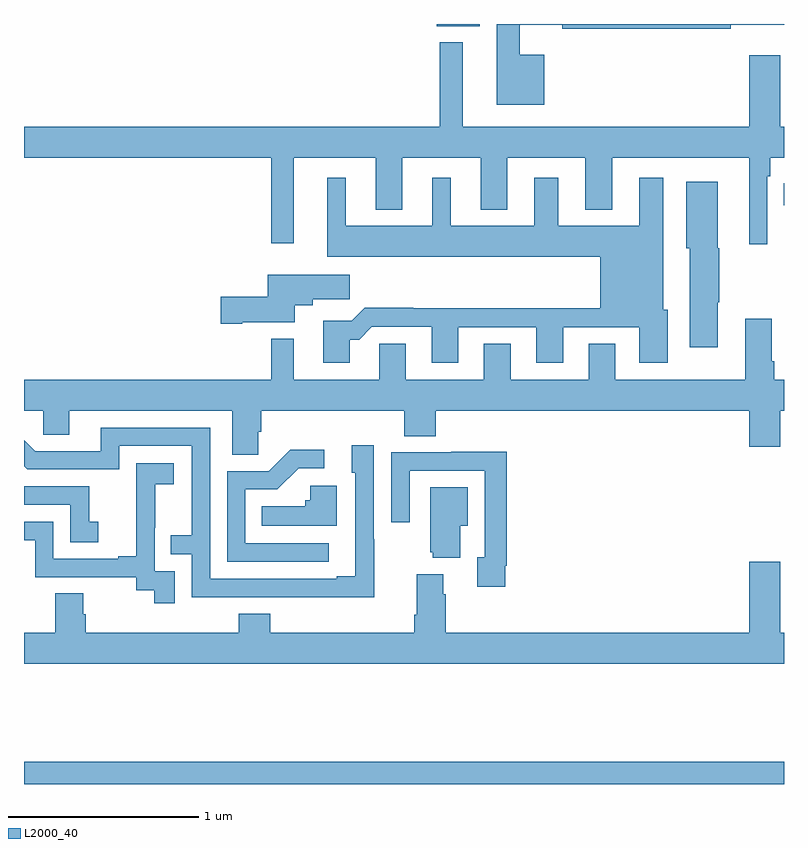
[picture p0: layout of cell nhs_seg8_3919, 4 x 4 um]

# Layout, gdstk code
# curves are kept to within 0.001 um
import gdstk
lib = gdstk.Library(unit=1e-6, precision=1e-09)
def R(c, l, rs):  # rectangles x0, y0, x1, y1
    for r in rs: c.add(gdstk.rectangle(r[:2], r[2:], *l))
def P(c, l, *ps):  # polygons
    for p in ps: c.add(gdstk.Polygon(p, *l))
L2000_40 = (2000, 40)

nhs_seg8_3919 = lib.new_cell('nhs_seg8_3919')
R(nhs_seg8_3919, L2000_40, [(353,1083.9,357,1084.016), (356.998,1086.946,357,1087.062), (355.172,1087.889,355.399,1087.9)])
P(nhs_seg8_3919, L2000_40, [(355.738,1087.738),(355.609,1087.738),(355.609,1087.895),(355.834,1087.895),(355.834,1087.876),(356.72,1087.876),(356.72,1087.895),(357,1087.895),(357,1087.9),(355.487,1087.9),(355.487,1087.475),(355.738,1087.475)],
  [(356.913,1087.1),(356.927,1087.1),(356.927,1087.196),(357,1087.196),(357,1087.36),(356.98,1087.36),(356.98,1087.735),(356.816,1087.735),(356.816,1087.36),(355.309,1087.36),(355.309,1087.804),(355.188,1087.804),(355.188,1087.36),(353,1087.36),(353,1087.196),(354.3,1087.196),(354.3,1086.747),(354.421,1086.747),(354.421,1087.196),(354.851,1087.196),(354.851,1086.923),(354.991,1086.923),(354.991,1087.196),(355.403,1087.196),(355.403,1086.923),(355.543,1086.923),(355.543,1087.196),(355.955,1087.196),(355.955,1086.923),(356.095,1086.923),(356.095,1087.196),(356.816,1087.196),(356.816,1086.741),(356.913,1086.741)],
  [(354.715,1086.239),(354.764,1086.239),(354.831,1086.306),(355.145,1086.306),(355.145,1086.117),(355.285,1086.117),(355.285,1086.303),(355.697,1086.303),(355.697,1086.117),(355.837,1086.117),(355.837,1086.303),(356.237,1086.303),(356.237,1086.117),(356.389,1086.117),(356.389,1086.396),(356.365,1086.396),(356.365,1087.09),(356.237,1087.09),(356.237,1086.838),(355.813,1086.838),(355.813,1087.09),(355.685,1087.09),(355.685,1086.838),(355.246,1086.838),(355.246,1087.09),(355.148,1087.09),(355.148,1086.838),(354.694,1086.838),(354.694,1087.09),(354.596,1087.09),(354.596,1086.674),(356.033,1086.674),(356.033,1086.404),(355.049,1086.404),(355.049,1086.407),(354.794,1086.407),(354.724,1086.337),(354.575,1086.337),(354.575,1086.117),(354.715,1086.117)],
  [(356.65,1086.436),(356.658,1086.436),(356.658,1086.72),(356.65,1086.72),(356.65,1087.069),(356.486,1087.069),(356.486,1086.72),(356.504,1086.72),(356.504,1086.198),(356.65,1086.198)],
  [(354.148,1086.329),(354.424,1086.329),(354.424,1086.419),(354.52,1086.419),(354.52,1086.451),(354.715,1086.451),(354.715,1086.58),(354.284,1086.58),(354.284,1086.464),(354.036,1086.464),(354.036,1086.322),(354.148,1086.322)],
  [(354.234,1085.755),(354.248,1085.755),(354.248,1085.864),(355.001,1085.864),(355.001,1085.731),(355.166,1085.731),(355.166,1085.864),(356.816,1085.864),(356.816,1085.676),(356.98,1085.676),(356.98,1085.864),(357,1085.864),(357,1086.028),(356.948,1086.028),(356.948,1086.124),(356.935,1086.124),(356.935,1086.349),(356.795,1086.349),(356.795,1086.028),(356.113,1086.028),(356.113,1086.218),(355.973,1086.218),(355.973,1086.028),(355.561,1086.028),(355.561,1086.218),(355.421,1086.218),(355.421,1086.028),(355.009,1086.028),(355.009,1086.218),(354.87,1086.218),(354.87,1086.028),(354.421,1086.028),(354.421,1086.244),(354.3,1086.244),(354.3,1086.028),(353,1086.028),(353,1085.864),(353.1,1085.864),(353.1,1085.737),(353.239,1085.737),(353.239,1085.864),(354.095,1085.864),(354.095,1085.632),(354.234,1085.632)],
  [(354.843,1085.189),(354.84,1085.189),(354.84,1085.683),(354.725,1085.683),(354.725,1085.538),(354.744,1085.538),(354.744,1084.993),(354.647,1084.993),(354.647,1084.98),(353.979,1084.98),(353.979,1085.775),(353.405,1085.775),(353.405,1085.652),(353.058,1085.652),(353,1085.71),(353,1085.572),(353.016,1085.556),(353.502,1085.556),(353.502,1085.679),(353.883,1085.679),(353.883,1085.21),(353.773,1085.21),(353.773,1085.109),(353.883,1085.109),(353.883,1084.884),(354.843,1084.883)],
  [(354.604,1085.166),(354.165,1085.166),(354.165,1085.451),(354.334,1085.451),(354.445,1085.562),(354.58,1085.562),(354.58,1085.66),(354.401,1085.66),(354.288,1085.547),(354.069,1085.547),(354.069,1085.07),(354.604,1085.07)],
  [(355.534,1085.05),(355.541,1085.05),(355.541,1085.648),(355.249,1085.648),(355.249,1085.646),(354.933,1085.646),(354.933,1085.277),(355.029,1085.277),(355.029,1085.55),(355.425,1085.55),(355.425,1085.094),(355.385,1085.094),(355.385,1084.938),(355.534,1084.938)],
  [(353.793,1085.019),(353.688,1085.019),(353.688,1085.249),(353.69,1085.249),(353.69,1085.477),(353.788,1085.477),(353.788,1085.587),(353.59,1085.587),(353.59,1085.381),(353.591,1085.381),(353.591,1085.098),(353.495,1085.098),(353.495,1085.085),(353.154,1085.085),(353.154,1085.28),(353,1085.28),(353,1085.184),(353.058,1085.184),(353.058,1084.989),(353.592,1084.989),(353.592,1084.921),(353.685,1084.921),(353.685,1084.851),(353.793,1084.851)],
  [(354.646,1085.47),(354.507,1085.47),(354.507,1085.394),(354.481,1085.394),(354.481,1085.362),(354.25,1085.362),(354.25,1085.258),(354.646,1085.258)],
  [(353.392,1085.281),(353.343,1085.281),(353.343,1085.466),(353,1085.466),(353,1085.37),(353.244,1085.37),(353.244,1085.172),(353.392,1085.172)],
  [(355.297,1085.258),(355.336,1085.258),(355.336,1085.461),(355.139,1085.461),(355.139,1085.121),(355.151,1085.121),(355.151,1085.09),(355.297,1085.09)],
  [(357,1084.696),(356.98,1084.696),(356.98,1085.071),(356.816,1085.071),(356.816,1084.696),(355.22,1084.696),(355.22,1084.898),(355.207,1084.898),(355.207,1085.005),(355.067,1085.005),(355.067,1084.792),(355.055,1084.792),(355.055,1084.696),(354.296,1084.696),(354.296,1084.795),(354.131,1084.795),(354.131,1084.696),(353.324,1084.696),(353.324,1084.794),(353.311,1084.794),(353.311,1084.904),(353.164,1084.904),(353.164,1084.696),(353,1084.696),(353,1084.532),(357,1084.532)])

lib.write_gds('nhs_seg8_3919.gds')
